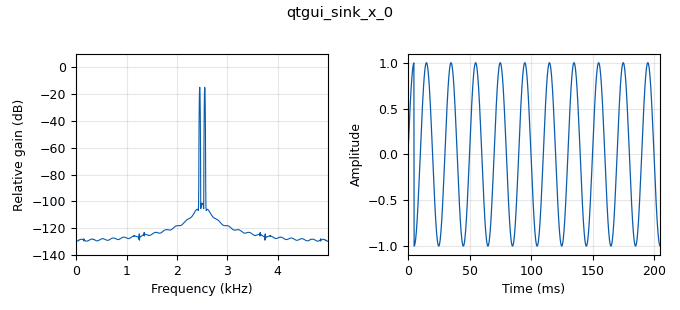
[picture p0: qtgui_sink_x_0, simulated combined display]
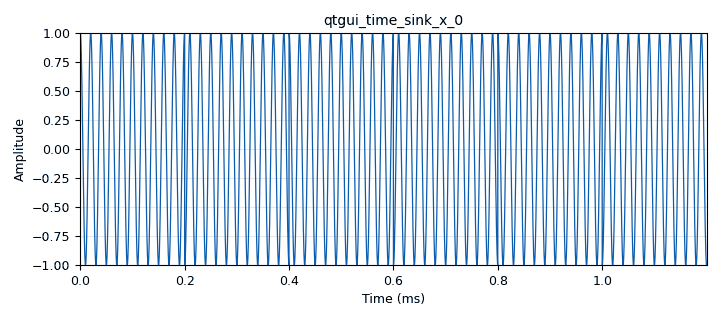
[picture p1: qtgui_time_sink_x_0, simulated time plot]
options:
  parameters:
    author: Matias Gandino
    generate_options: qt_gui
    id: BPKS_Transmision
    output_language: python
    title: BPKS_Transmision
  states: {}

blocks:
- name: f_portadora
  id: variable
  parameters:
    value: '50000'
  states: {}
- name: samp_rate
  id: variable
  parameters:
    value: f_portadora*100
  states: {}
- name: analog_sig_source_x_0
  id: analog_sig_source_x
  parameters:
    amp: '1'
    freq: f_portadora
    offset: '0'
    phase: '0'
    samp_rate: samp_rate
    type: float
    waveform: analog.GR_COS_WAVE
  states: {}
- name: blocks_add_const_vxx_0
  id: blocks_add_const_vxx
  parameters:
    const: '-1'
    type: float
  states: {}
- name: blocks_add_xx_0
  id: blocks_add_xx
  parameters:
    type: float
  states: {}
- name: blocks_multiply_xx_0
  id: blocks_multiply_xx
  parameters:
    type: float
  states: {}
- name: blocks_multiply_xx_0_0
  id: blocks_multiply_xx
  parameters:
    type: float
  states: {}
- name: blocks_repeat_0
  id: blocks_repeat
  parameters:
    interp: '1000'
    type: float
  states: {}
- name: blocks_throttle2_0
  id: blocks_throttle2
  parameters:
    samples_per_second: samp_rate
    type: float
  states: {}
- name: blocks_vector_source_x_0
  id: blocks_vector_source_x
  parameters:
    repeat: 'True'
    tags: ''
    type: float
    vector: (1, 0, 1, 0, 1, 0, 1, 0)
  states: {}
- name: note_0
  id: note
  parameters:
    note: MODULACION
  states: {}
- name: qtgui_sink_x_0
  id: qtgui_sink_x
  parameters:
    bw: '5000'
    fc: '2500'
    fftsize: '1024'
    type: float
  states: {}
- name: qtgui_time_sink_x_0
  id: qtgui_time_sink_x
  parameters:
    size: '6000'
    srate: samp_rate
    type: float
  states: {}
- name: virtual_sink_0
  id: virtual_sink
  parameters:
    stream_id: Portadora
  states: {}
- name: virtual_source_0
  id: virtual_source
  parameters:
    stream_id: Portadora
  states: {}
- name: virtual_source_0_0
  id: virtual_source
  parameters:
    stream_id: Portadora
  states: {}

connections:
- [analog_sig_source_x_0, '0', virtual_sink_0, '0']
- [blocks_add_const_vxx_0, '0', blocks_multiply_xx_0_0, '0']
- [blocks_add_xx_0, '0', blocks_throttle2_0, '0']
- [blocks_add_xx_0, '0', qtgui_time_sink_x_0, '0']
- [blocks_multiply_xx_0, '0', blocks_add_xx_0, '0']
- [blocks_multiply_xx_0_0, '0', blocks_add_xx_0, '1']
- [blocks_repeat_0, '0', blocks_add_const_vxx_0, '0']
- [blocks_repeat_0, '0', blocks_multiply_xx_0, '1']
- [blocks_throttle2_0, '0', qtgui_sink_x_0, '0']
- [blocks_vector_source_x_0, '0', blocks_repeat_0, '0']
- [virtual_source_0, '0', blocks_multiply_xx_0_0, '1']
- [virtual_source_0_0, '0', blocks_multiply_xx_0, '0']

metadata:
  file_format: 1
  grc_version: 3.10.12.0
